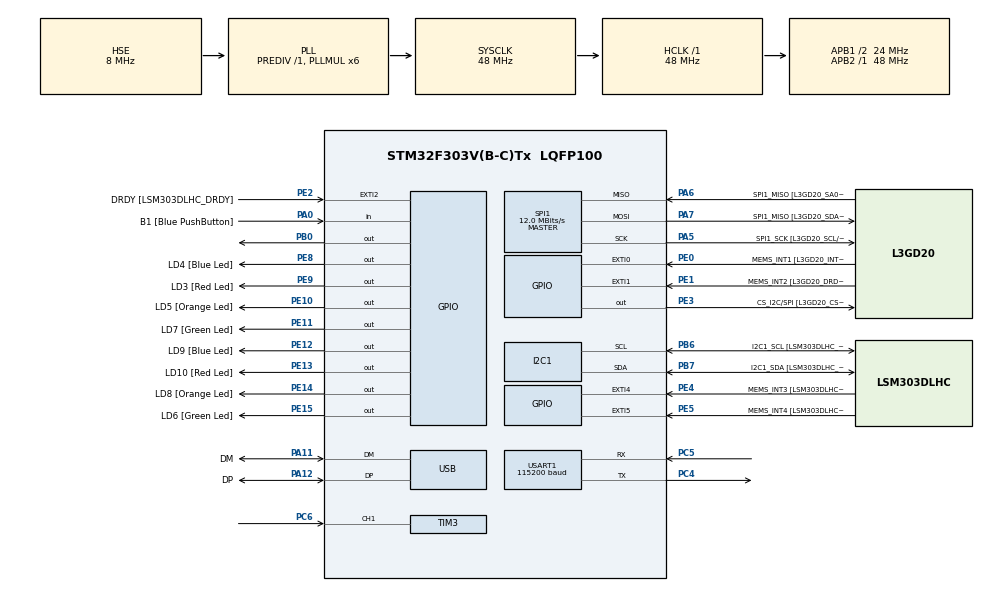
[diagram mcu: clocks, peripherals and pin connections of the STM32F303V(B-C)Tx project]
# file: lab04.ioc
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I2C1.Timing=0x00201D2B
I2C1.Timing-I2C=0x2000090E
Mcu.Family=STM32F3
Mcu.Name=STM32F303V(B-C)Tx
Mcu.Package=LQFP100
NVIC.PriorityGroup=NVIC_PRIORITYGROUP_0
NVIC.TIM2_IRQn=true\:0\:0\:false\:false\:true\:true\:true\:true
NVIC.TIM3_IRQn=true\:0\:0\:false\:false\:true\:true\:true\:true
NVIC.USB_LP_CAN_RX0_IRQn=true\:0\:0\:false\:false\:true\:false\:true\:true
PA0.GPIO_Label=B1 [Blue PushButton]
PA0.Signal=GPIO_Input
PA11.GPIO_Label=DM
PA11.Mode=Device
PA11.Signal=USB_DM
PA12.GPIO_Label=DP
PA12.Mode=Device
PA12.Signal=USB_DP
PA13.GPIO_Label=SWDIO
PA13.Mode=Serial_Wire
PA13.Signal=SYS_JTMS-SWDIO
PA14.GPIO_Label=SWCLK
PA14.Mode=Serial_Wire
PA14.Signal=SYS_JTCK-SWCLK
PA5.GPIO_Label=SPI1_SCK [L3GD20_SCL/SPC]
PA5.Mode=Full_Duplex_Master
PA5.Signal=SPI1_SCK
PA6.GPIO_Label=SPI1_MISO [L3GD20_SA0/SDO]
PA6.Mode=Full_Duplex_Master
PA6.Signal=SPI1_MISO
PA7.GPIO_Label=SPI1_MISO [L3GD20_SDA/SDI/SDO]
PA7.Mode=Full_Duplex_Master
PA7.Signal=SPI1_MOSI
PB0.Signal=GPIO_Output
PB3.GPIO_Label=SWO
PB3.Signal=SYS_JTDO-TRACESWO
PB6.GPIO_Label=I2C1_SCL [LSM303DLHC_SCL]
PB6.GPIO_Pu=GPIO_PULLUP
PB6.Mode=I2C
PB6.Signal=I2C1_SCL
PB7.GPIO_Label=I2C1_SDA [LSM303DLHC_SDA]
PB7.GPIO_Pu=GPIO_PULLUP
PB7.Mode=I2C
PB7.Signal=I2C1_SDA
PC14-OSC32_IN.GPIO_Label=OSC32_IN
PC14-OSC32_IN.Signal=RCC_OSC32_IN
PC15-OSC32_OUT.GPIO_Label=OSC32_OUT
PC15-OSC32_OUT.Signal=RCC_OSC32_OUT
PC4.Mode=Asynchronous
PC4.Signal=USART1_TX
PC5.Mode=Asynchronous
PC5.Signal=USART1_RX
PC6.GPIO_PuPd=GPIO_PULLUP
PC6.Signal=S_TIM3_CH1
PE0.GPIO_Label=MEMS_INT1 [L3GD20_INT1]
PE0.GPIO_ModeDefaultEXTI=GPIO_MODE_EVT_RISING
PE0.Signal=GPXTI0
PE1.GPIO_Label=MEMS_INT2 [L3GD20_DRDY/INT2]
PE1.GPIO_ModeDefaultEXTI=GPIO_MODE_EVT_RISING
PE1.Signal=GPXTI1
PE10.GPIO_Label=LD5 [Orange Led]
PE10.Signal=GPIO_Output
PE11.GPIO_Label=LD7 [Green Led]
PE11.Signal=GPIO_Output
PE12.GPIO_Label=LD9 [Blue Led]
PE12.Signal=GPIO_Output
PE13.GPIO_Label=LD10 [Red Led]
PE13.Signal=GPIO_Output
PE14.GPIO_Label=LD8 [Orange Led]
PE14.Signal=GPIO_Output
PE15.GPIO_Label=LD6 [Green Led]
PE15.Signal=GPIO_Output
PE2.GPIO_Label=DRDY [LSM303DLHC_DRDY]
PE2.GPIO_ModeDefaultEXTI=GPIO_MODE_EVT_RISING
PE2.Signal=GPXTI2
PE3.GPIO_Label=CS_I2C/SPI [L3GD20_CS_I2C/SPI]
PE3.Signal=GPIO_Output
PE4.GPIO_Label=MEMS_INT3 [LSM303DLHC_INT1]
PE4.GPIO_ModeDefaultEXTI=GPIO_MODE_EVT_RISING
PE4.Signal=GPXTI4
PE5.GPIO_Label=MEMS_INT4 [LSM303DLHC_INT2]
PE5.GPIO_ModeDefaultEXTI=GPIO_MODE_EVT_RISING
PE5.Signal=GPXTI5
PE8.GPIO_Label=LD4 [Blue Led]
PE8.Signal=GPIO_Output
PE9.GPIO_Label=LD3 [Red Led]
PE9.Signal=GPIO_Output
PF0-OSC_IN.GPIO_Label=OSC_IN
PF0-OSC_IN.Mode=HSE-External-Clock-Source
PF0-OSC_IN.Signal=RCC_OSC_IN
PF1-OSC_OUT.GPIO_Label=OSC_OUT
PF1-OSC_OUT.Signal=RCC_OSC_OUT
ProjectManager.HeapSize=0x200
ProjectManager.StackSize=0x400
ProjectManager.TargetToolchain=CMake
RCC.AHBFreq_Value=48000000
RCC.APB1CLKDivider=RCC_HCLK_DIV2
RCC.APB1Freq_Value=24000000
RCC.APB1TimFreq_Value=48000000
RCC.APB2Freq_Value=48000000
RCC.APB2TimFreq_Value=48000000
RCC.CortexFreq_Value=48000000
RCC.HCLKFreq_Value=48000000
RCC.HSE_VALUE=8000000
RCC.HSI_VALUE=8000000
RCC.LSE_VALUE=32768
RCC.PLLMUL=RCC_PLL_MUL6
RCC.SYSCLKFreq_VALUE=48000000
RCC.SYSCLKSourceVirtual=RCC_SYSCLKSOURCE_PLLCLK
RCC.USBFreq_Value=48000000
SH.S_TIM3_CH1.0=TIM3_CH1,Input_Capture1_from_TI1
SPI1.BaudRatePrescaler=SPI_BAUDRATEPRESCALER_4
SPI1.BaudRatePrescaler-Full_Duplex_Master=SPI_BAUDRATEPRESCALER_2
SPI1.CalculateBaudRate=12.0 MBits/s
SPI1.CalculateBaudRate-Full_Duplex_Master=24.0 MBits/s
SPI1.Direction=SPI_DIRECTION_2LINES
SPI1.Mode=SPI_MODE_MASTER
SPI1.Mode-Full_Duplex_Master=SPI_MODE_MASTER
SPI1.VirtualType=VM_MASTER
TIM2.Prescaler=47999
TIM3.Channel-Input_Capture1_from_TI1=TIM_CHANNEL_1
USART1.BaudRate=115200
USART1.VirtualMode-Asynchronous=VM_ASYNC
USB_DEVICE.CLASS_NAME_FS=CDC
USB_DEVICE.VirtualMode=Cdc
USB_DEVICE.VirtualModeFS=Cdc_FS
VP_TIM2_VS_ClockSourceINT.Mode=Internal
VP_USB_DEVICE_VS_USB_DEVICE_CDC_FS.Mode=CDC_FS
board=STM32F3DISCOVERY

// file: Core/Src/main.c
/* USER CODE BEGIN Header */
/**
  ******************************************************************************
  * @file           : main.c
  * @brief          : Main program body
  ******************************************************************************
  * @attention
  *
  * Copyright (c) 2026 STMicroelectronics.
  * All rights reserved.
  *
  * This software is licensed under terms that can be found in the LICENSE file
  * in the root directory of this software component.
  * If no LICENSE file comes with this software, it is provided AS-IS.
  *
  ******************************************************************************
  */
/* USER CODE END Header */
#include "main.h"
#include "stm32f3xx_hal_gpio.h"
#include "stm32f3xx_hal_uart.h"
#include "usb_device.h"
#include "main.h"
#include "stdarg.h"
#include "stdio.h"
#include "stm32f3xx_hal.h"
#include "string.h"
#include "math.h"

I2C_HandleTypeDef hi2c1;

SPI_HandleTypeDef hspi1;

TIM_HandleTypeDef htim2;
TIM_HandleTypeDef htim3;

UART_HandleTypeDef huart1;

void SystemClock_Config(void);
static void MX_GPIO_Init(void);
static void MX_I2C1_Init(void);
static void MX_SPI1_Init(void);
static void MX_TIM2_Init(void);
static void MX_USART1_UART_Init(void);
static void MX_TIM3_Init(void);

/* USER CODE BEGIN 0 */
void HAL_TIM_IC_CaptureCallback ( TIM_HandleTypeDef *htim);
void myPrintf(const char *fmt, ...);
uint32_t last_capture = 0, period = 0;
/* USER CODE END 0 */

int main(void)
{

  /* MCU Configuration--------------------------------------------------------*/

  /* Reset of all peripherals, Initializes the Flash interface and the Systick. */
  HAL_Init();

  /* Configure the system clock */
  SystemClock_Config();

  /* Initialize all configured peripherals */
  MX_GPIO_Init();
  MX_I2C1_Init();
  MX_SPI1_Init();
  MX_TIM2_Init();
  MX_USART1_UART_Init();
  MX_USB_DEVICE_Init();
  MX_TIM3_Init();
  /* USER CODE BEGIN 2 */
  HAL_TIM_IC_Start_IT (& htim3 , TIM_CHANNEL_1 );
  /* USER CODE END 2 */

  /* Infinite loop */
  while (1)
  {
    myPrintf("frequency = %d\r\n", (48000000 / (71 * period)));
    myPrintf("period = %d\r\n", period);
  }
}

void SystemClock_Config(void)
{
  RCC_OscInitTypeDef RCC_OscInitStruct = {0};
  RCC_ClkInitTypeDef RCC_ClkInitStruct = {0};
  RCC_PeriphCLKInitTypeDef PeriphClkInit = {0};

  /** Initializes the RCC Oscillators according to the specified parameters
  * in the RCC_OscInitTypeDef structure.
  */
  RCC_OscInitStruct.OscillatorType = RCC_OSCILLATORTYPE_HSI|RCC_OSCILLATORTYPE_HSE;
  RCC_OscInitStruct.HSEState = RCC_HSE_BYPASS;
  RCC_OscInitStruct.HSEPredivValue = RCC_HSE_PREDIV_DIV1;
  RCC_OscInitStruct.HSIState = RCC_HSI_ON;
  RCC_OscInitStruct.HSICalibrationValue = RCC_HSICALIBRATION_DEFAULT;
  RCC_OscInitStruct.PLL.PLLState = RCC_PLL_ON;
  RCC_OscInitStruct.PLL.PLLSource = RCC_PLLSOURCE_HSE;
  RCC_OscInitStruct.PLL.PLLMUL = RCC_PLL_MUL6;
  if (HAL_RCC_OscConfig(&RCC_OscInitStruct) != HAL_OK)
  {
    Error_Handler();
  }

  /** Initializes the CPU, AHB and APB buses clocks
  */
  RCC_ClkInitStruct.ClockType = RCC_CLOCKTYPE_HCLK|RCC_CLOCKTYPE_SYSCLK
                              |RCC_CLOCKTYPE_PCLK1|RCC_CLOCKTYPE_PCLK2;
  RCC_ClkInitStruct.SYSCLKSource = RCC_SYSCLKSOURCE_PLLCLK;
  RCC_ClkInitStruct.AHBCLKDivider = RCC_SYSCLK_DIV1;
  RCC_ClkInitStruct.APB1CLKDivider = RCC_HCLK_DIV2;
  RCC_ClkInitStruct.APB2CLKDivider = RCC_HCLK_DIV1;

  if (HAL_RCC_ClockConfig(&RCC_ClkInitStruct, FLASH_LATENCY_1) != HAL_OK)
  {
    Error_Handler();
  }
  PeriphClkInit.PeriphClockSelection = RCC_PERIPHCLK_USB|RCC_PERIPHCLK_USART1
                              |RCC_PERIPHCLK_I2C1;
  PeriphClkInit.Usart1ClockSelection = RCC_USART1CLKSOURCE_PCLK2;
  PeriphClkInit.I2c1ClockSelection = RCC_I2C1CLKSOURCE_HSI;
  PeriphClkInit.USBClockSelection = RCC_USBCLKSOURCE_PLL;
  if (HAL_RCCEx_PeriphCLKConfig(&PeriphClkInit) != HAL_OK)
  {
    Error_Handler();
  }
}

static void MX_I2C1_Init(void)
{

  hi2c1.Instance = I2C1;
  hi2c1.Init.Timing = 0x00201D2B;
  hi2c1.Init.OwnAddress1 = 0;
  hi2c1.Init.AddressingMode = I2C_ADDRESSINGMODE_7BIT;
  hi2c1.Init.DualAddressMode = I2C_DUALADDRESS_DISABLE;
  hi2c1.Init.OwnAddress2 = 0;
  hi2c1.Init.OwnAddress2Masks = I2C_OA2_NOMASK;
  hi2c1.Init.GeneralCallMode = I2C_GENERALCALL_DISABLE;
  hi2c1.Init.NoStretchMode = I2C_NOSTRETCH_DISABLE;
  if (HAL_I2C_Init(&hi2c1) != HAL_OK)
  {
    Error_Handler();
  }

  /** Configure Analogue filter
  */
  if (HAL_I2CEx_ConfigAnalogFilter(&hi2c1, I2C_ANALOGFILTER_ENABLE) != HAL_OK)
  {
    Error_Handler();
  }

  /** Configure Digital filter
  */
  if (HAL_I2CEx_ConfigDigitalFilter(&hi2c1, 0) != HAL_OK)
  {
    Error_Handler();
  }

}

static void MX_SPI1_Init(void)
{

  /* SPI1 parameter configuration*/
  hspi1.Instance = SPI1;
  hspi1.Init.Mode = SPI_MODE_MASTER;
  hspi1.Init.Direction = SPI_DIRECTION_2LINES;
  hspi1.Init.DataSize = SPI_DATASIZE_4BIT;
  hspi1.Init.CLKPolarity = SPI_POLARITY_LOW;
  hspi1.Init.CLKPhase = SPI_PHASE_1EDGE;
  hspi1.Init.NSS = SPI_NSS_SOFT;
  hspi1.Init.BaudRatePrescaler = SPI_BAUDRATEPRESCALER_4;
  hspi1.Init.FirstBit = SPI_FIRSTBIT_MSB;
  hspi1.Init.TIMode = SPI_TIMODE_DISABLE;
  hspi1.Init.CRCCalculation = SPI_CRCCALCULATION_DISABLE;
  hspi1.Init.CRCPolynomial = 7;
  hspi1.Init.CRCLength = SPI_CRC_LENGTH_DATASIZE;
  hspi1.Init.NSSPMode = SPI_NSS_PULSE_ENABLE;
  if (HAL_SPI_Init(&hspi1) != HAL_OK)
  {
    Error_Handler();
  }

}

static void MX_TIM2_Init(void)
{

  TIM_ClockConfigTypeDef sClockSourceConfig = {0};
  TIM_MasterConfigTypeDef sMasterConfig = {0};

  htim2.Instance = TIM2;
  htim2.Init.Prescaler = 47999;
  htim2.Init.CounterMode = TIM_COUNTERMODE_UP;
  htim2.Init.Period = 4294967295;
  htim2.Init.ClockDivision = TIM_CLOCKDIVISION_DIV1;
  htim2.Init.AutoReloadPreload = TIM_AUTORELOAD_PRELOAD_DISABLE;
  if (HAL_TIM_Base_Init(&htim2) != HAL_OK)
  {
    Error_Handler();
  }
  sClockSourceConfig.ClockSource = TIM_CLOCKSOURCE_INTERNAL;
  if (HAL_TIM_ConfigClockSource(&htim2, &sClockSourceConfig) != HAL_OK)
  {
    Error_Handler();
  }
  sMasterConfig.MasterOutputTrigger = TIM_TRGO_RESET;
  sMasterConfig.MasterSlaveMode = TIM_MASTERSLAVEMODE_DISABLE;
  if (HAL_TIMEx_MasterConfigSynchronization(&htim2, &sMasterConfig) != HAL_OK)
  {
    Error_Handler();
  }

}

static void MX_TIM3_Init(void)
{

  TIM_MasterConfigTypeDef sMasterConfig = {0};
  TIM_IC_InitTypeDef sConfigIC = {0};

  htim3.Instance = TIM3;
  htim3.Init.Prescaler = 71;
  htim3.Init.CounterMode = TIM_COUNTERMODE_UP;
  htim3.Init.Period = 65535;
  htim3.Init.ClockDivision = TIM_CLOCKDIVISION_DIV1;
  htim3.Init.AutoReloadPreload = TIM_AUTORELOAD_PRELOAD_DISABLE;
  if (HAL_TIM_IC_Init(&htim3) != HAL_OK)
  {
    Error_Handler();
  }
  sMasterConfig.MasterOutputTrigger = TIM_TRGO_RESET;
  sMasterConfig.MasterSlaveMode = TIM_MASTERSLAVEMODE_DISABLE;
  if (HAL_TIMEx_MasterConfigSynchronization(&htim3, &sMasterConfig) != HAL_OK)
  {
    Error_Handler();
  }
  sConfigIC.ICPolarity = TIM_INPUTCHANNELPOLARITY_RISING;
  sConfigIC.ICSelection = TIM_ICSELECTION_DIRECTTI;
  sConfigIC.ICPrescaler = TIM_ICPSC_DIV1;
  sConfigIC.ICFilter = 0;
  if (HAL_TIM_IC_ConfigChannel(&htim3, &sConfigIC, TIM_CHANNEL_1) != HAL_OK)
  {
    Error_Handler();
  }

}

static void MX_USART1_UART_Init(void)
{

  huart1.Instance = USART1;
  huart1.Init.BaudRate = 115200;
  huart1.Init.WordLength = UART_WORDLENGTH_8B;
  huart1.Init.StopBits = UART_STOPBITS_1;
  huart1.Init.Parity = UART_PARITY_NONE;
  huart1.Init.Mode = UART_MODE_TX_RX;
  huart1.Init.HwFlowCtl = UART_HWCONTROL_NONE;
  huart1.Init.OverSampling = UART_OVERSAMPLING_16;
  huart1.Init.OneBitSampling = UART_ONE_BIT_SAMPLE_DISABLE;
  huart1.AdvancedInit.AdvFeatureInit = UART_ADVFEATURE_NO_INIT;
  if (HAL_UART_Init(&huart1) != HAL_OK)
  {
    Error_Handler();
  }

}

static void MX_GPIO_Init(void)
{
  GPIO_InitTypeDef GPIO_InitStruct = {0};

  /* GPIO Ports Clock Enable */
  __HAL_RCC_GPIOE_CLK_ENABLE();
  __HAL_RCC_GPIOC_CLK_ENABLE();
  __HAL_RCC_GPIOF_CLK_ENABLE();
  __HAL_RCC_GPIOA_CLK_ENABLE();
  __HAL_RCC_GPIOB_CLK_ENABLE();

  /*Configure GPIO pin Output Level */
  HAL_GPIO_WritePin(GPIOE, CS_I2C_SPI_Pin|LD4_Pin|LD3_Pin|LD5_Pin
                          |LD7_Pin|LD9_Pin|LD10_Pin|LD8_Pin
                          |LD6_Pin, GPIO_PIN_RESET);

  /*Configure GPIO pins : DRDY_Pin MEMS_INT3_Pin MEMS_INT4_Pin MEMS_INT1_Pin
                           MEMS_INT2_Pin */
  GPIO_InitStruct.Pin = DRDY_Pin|MEMS_INT3_Pin|MEMS_INT4_Pin|MEMS_INT1_Pin
                          |MEMS_INT2_Pin;
  GPIO_InitStruct.Mode = GPIO_MODE_EVT_RISING;
  GPIO_InitStruct.Pull = GPIO_NOPULL;
  HAL_GPIO_Init(GPIOE, &GPIO_InitStruct);

  /*Configure GPIO pins : CS_I2C_SPI_Pin LD4_Pin LD3_Pin LD5_Pin
                           LD7_Pin LD9_Pin LD10_Pin LD8_Pin
                           LD6_Pin */
  GPIO_InitStruct.Pin = CS_I2C_SPI_Pin|LD4_Pin|LD3_Pin|LD5_Pin
                          |LD7_Pin|LD9_Pin|LD10_Pin|LD8_Pin
                          |LD6_Pin;
  GPIO_InitStruct.Mode = GPIO_MODE_OUTPUT_PP;
  GPIO_InitStruct.Pull = GPIO_NOPULL;
  GPIO_InitStruct.Speed = GPIO_SPEED_FREQ_LOW;
  HAL_GPIO_Init(GPIOE, &GPIO_InitStruct);

  /*Configure GPIO pin : B1_Pin */
  GPIO_InitStruct.Pin = B1_Pin;
  GPIO_InitStruct.Mode = GPIO_MODE_INPUT;
  GPIO_InitStruct.Pull = GPIO_NOPULL;
  HAL_GPIO_Init(B1_GPIO_Port, &GPIO_InitStruct);

}

/* USER CODE BEGIN 4 */

void HAL_TIM_IC_CaptureCallback ( TIM_HandleTypeDef *htim) {
  if (htim -> Channel == HAL_TIM_ACTIVE_CHANNEL_1 ) {
    uint32_t current_capture = HAL_TIM_ReadCapturedValue (htim ,TIM_CHANNEL_1 );
    period = current_capture - last_capture ;
    last_capture = current_capture ;
    HAL_GPIO_WritePin(GPIOB, GPIO_PIN_0, HAL_GPIO_ReadPin(GPIOC, GPIO_PIN_6));
}
}

void myPrintf(const char *fmt, ...)
{
    char buffer[256];
    va_list argument;
    va_start(argument, fmt);
    vsnprintf(buffer, sizeof(buffer), fmt, argument);
    HAL_UART_Transmit(&huart1, (uint8_t*)buffer, strlen(buffer), HAL_MAX_DELAY);
}
/* USER CODE END 4 */

void Error_Handler(void)
{
  __disable_irq();
  while (1)
  {
  }
}
